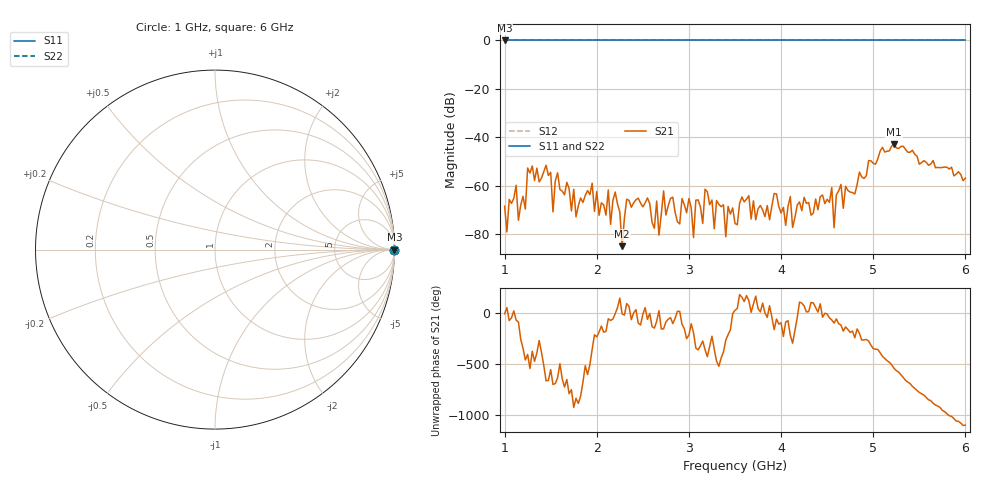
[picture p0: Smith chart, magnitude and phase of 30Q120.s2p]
!Keysight Technologies N9926A: A.08.19
!Date: Sunday, 01 March 2026 14:25:27
!Timezone: (GMT-06:00) Central Time (US & Canada)
!Model: N9926A
!Serial: MY53102721
!GPS Latitude:
!GPS Longitude:
!GPS TimeStamp: 0001-01-01 00:00:00Z
!GPS Seconds Since Last Read: 0
!CHECKSUM:0994162871
!Correction: S11()S21(ON U)S12()S22()
!S2P File: Measurements:S11,S21,S12,S22:
# Hz S DB R 50
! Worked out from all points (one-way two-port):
!   201 points, 1 GHz to 6 GHz, reference 50 ohm
!   highest |S21| = -42.89 dB at 5.225 GHz (marker M1); lowest = -85.1 dB at 2.275 GHz (marker M2)
!   lowest |S11| = 0.0 dB at 1 GHz (marker M3)
!   |S11| at or under -10 dB: nowhere
!   |S22| runs from 0.0 to 0.0 dB; largest |S21 - S12| = 1
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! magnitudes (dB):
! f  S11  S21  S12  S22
! 1 GHz  0.0  -68.6  0.0  0.0
! 1.45 GHz  0.0  -51.6  0.0  0.0
! 1.525 GHz  0.0  -70.9  0.0  0.0
! 1.575 GHz  0.0  -54.8  0.0  0.0
! 1.85 GHz  0.0  -67.0  0.0  0.0
! 2.125 GHz  0.0  -61.8  0.0  0.0
! 2.15 GHz  0.0  -76.1  0.0  0.0
! 2.2 GHz  0.0  -62.7  0.0  0.0
! 2.275 GHz  0.0  -85.1  0.0  0.0
! 2.55 GHz  0.0  -65.2  0.0  0.0
! 2.675 GHz  0.0  -80.6  0.0  0.0
! 2.725 GHz  0.0  -62.2  0.0  0.0
! 3.05 GHz  0.0  -81.5  0.0  0.0
! 3.175 GHz  0.0  -61.5  0.0  0.0
! 3.5 GHz  0.0  -75.7  0.0  0.0
! 4.35 GHz  0.0  -71.4  0.0  0.0
! 4.55 GHz  0.0  -60.9  0.0  0.0
! 4.575 GHz  0.0  -77.5  0.0  0.0
! 4.65 GHz  0.0  -59.5  0.0  0.0
! 5.175 GHz  0.0  -45.7  0.0  0.0
! 5.225 GHz  0.0  -42.9  0.0  0.0
! 6 GHz  0.0  -57.0  0.0  0.0
